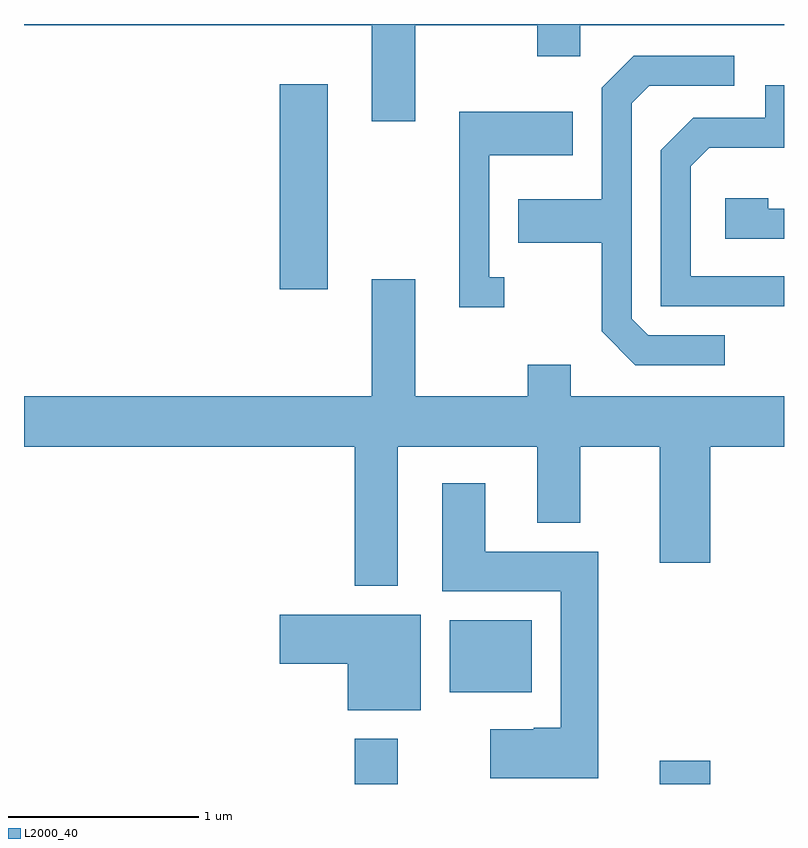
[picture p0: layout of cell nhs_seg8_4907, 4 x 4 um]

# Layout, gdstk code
import gdstk
lib = gdstk.Library(unit=1e-6, precision=1e-09)
def R(c, l, rs):  # rectangles x0, y0, x1, y1
    for r in rs: c.add(gdstk.rectangle(r[:2], r[2:], *l))
def P(c, l, *ps):  # polygons
    for p in ps: c.add(gdstk.Polygon(p, *l))
L2000_40 = (2000, 40)

nhs_seg8_4907 = lib.new_cell('nhs_seg8_4907')
R(nhs_seg8_4907, L2000_40, [(333.351,1912.342,333.579,1912.579), (334.956,1912.342,335.224,1912.464), (333.851,1912.826,334.284,1913.204), (332.956,1914.946,333.209,1916.024)])
P(nhs_seg8_4907, L2000_40, [(333.669,1916.336),(334.311,1916.336),(334.311,1916.171),(334.539,1916.171),(334.539,1916.336),(335.611,1916.336),(335.611,1916.342),(331.611,1916.342),(331.611,1916.336),(333.441,1916.336),(333.441,1915.831),(333.669,1915.831)],
  [(335.298,1914.704),(334.897,1914.704),(334.809,1914.792),(334.809,1915.924),(334.902,1916.016),(335.348,1916.016),(335.348,1916.174),(334.819,1916.174),(334.651,1916.007),(334.651,1915.419),(334.211,1915.419),(334.211,1915.191),(334.651,1915.191),(334.651,1914.724),(334.829,1914.546),(335.298,1914.546)],
  [(335.611,1915.014),(335.119,1915.014),(335.119,1915.594),(335.217,1915.691),(335.611,1915.691),(335.611,1916.019),(335.511,1916.019),(335.511,1915.849),(335.134,1915.849),(334.961,1915.677),(334.961,1914.856),(335.611,1914.856)],
  [(334.138,1915.009),(334.059,1915.009),(334.059,1915.651),(334.499,1915.651),(334.499,1915.879),(333.901,1915.879),(333.901,1914.851),(334.138,1914.851)],
  [(335.611,1915.369),(335.529,1915.369),(335.529,1915.424),(335.301,1915.424),(335.301,1915.211),(335.611,1915.211)],
  [(333.579,1914.116),(334.311,1914.116),(334.311,1913.716),(334.539,1913.716),(334.539,1914.116),(334.956,1914.116),(334.956,1913.506),(335.224,1913.506),(335.224,1914.116),(335.611,1914.116),(335.611,1914.384),(334.489,1914.384),(334.489,1914.549),(334.261,1914.549),(334.261,1914.384),(333.669,1914.384),(333.669,1914.999),(333.441,1914.999),(333.441,1914.384),(331.611,1914.384),(331.611,1914.116),(333.351,1914.116),(333.351,1913.386),(333.579,1913.386)],
  [(334.634,1913.564),(334.039,1913.564),(334.039,1913.924),(333.811,1913.924),(333.811,1913.356),(334.436,1913.356),(334.436,1912.639),(334.295,1912.639),(334.295,1912.629),(334.066,1912.629),(334.066,1912.371),(334.634,1912.371)],
  [(333.699,1913.234),(332.956,1913.234),(332.956,1912.976),(333.316,1912.976),(333.316,1912.731),(333.699,1912.731)])

lib.write_gds('nhs_seg8_4907.gds')
